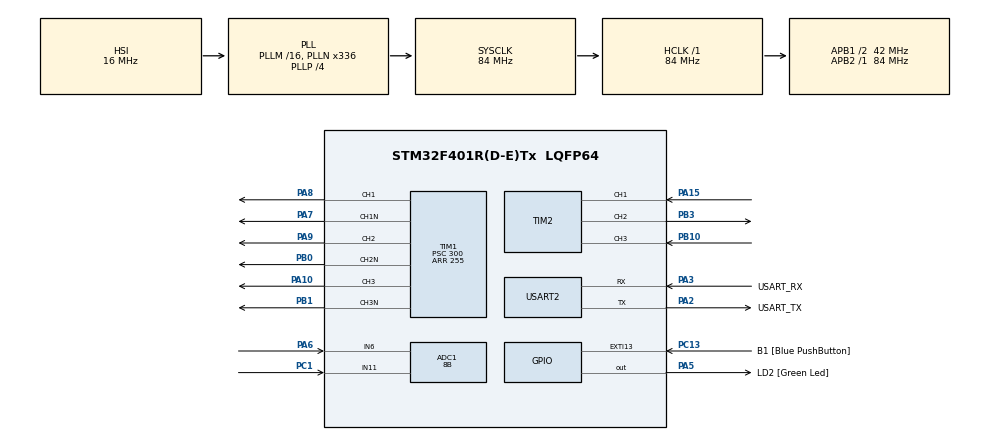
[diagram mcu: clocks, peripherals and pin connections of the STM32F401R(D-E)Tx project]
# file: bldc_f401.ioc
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ADC1.Channel-0\#ChannelRegularConversion=ADC_CHANNEL_6
ADC1.Channel-3\#ChannelRegularConversion=ADC_CHANNEL_11
ADC1.ContinuousConvMode=ENABLE
ADC1.DMAContinuousRequests=ENABLE
ADC1.EOCSelection=ADC_EOC_SEQ_CONV
ADC1.NbrOfConversion=2
ADC1.NbrOfConversionFlag=1
ADC1.Rank-0\#ChannelRegularConversion=1
ADC1.Rank-3\#ChannelRegularConversion=2
ADC1.Resolution=ADC_RESOLUTION_8B
ADC1.SamplingTime-0\#ChannelRegularConversion=ADC_SAMPLETIME_3CYCLES
ADC1.SamplingTime-3\#ChannelRegularConversion=ADC_SAMPLETIME_3CYCLES
ADC1.ScanConvMode=ENABLE
ADC1.master=1
Dma.ADC1.0.Direction=DMA_PERIPH_TO_MEMORY
Dma.ADC1.0.FIFOMode=DMA_FIFOMODE_DISABLE
Dma.ADC1.0.Instance=DMA2_Stream0
Dma.ADC1.0.MemDataAlignment=DMA_MDATAALIGN_WORD
Dma.ADC1.0.MemInc=DMA_MINC_ENABLE
Dma.ADC1.0.Mode=DMA_CIRCULAR
Dma.ADC1.0.PeriphDataAlignment=DMA_PDATAALIGN_WORD
Dma.ADC1.0.PeriphInc=DMA_PINC_DISABLE
Dma.ADC1.0.Priority=DMA_PRIORITY_LOW
Dma.Request0=ADC1
Dma.Request1=USART2_TX
Dma.USART2_TX.1.Direction=DMA_MEMORY_TO_PERIPH
Dma.USART2_TX.1.FIFOMode=DMA_FIFOMODE_DISABLE
Dma.USART2_TX.1.Instance=DMA1_Stream6
Dma.USART2_TX.1.MemDataAlignment=DMA_MDATAALIGN_BYTE
Dma.USART2_TX.1.MemInc=DMA_MINC_ENABLE
Dma.USART2_TX.1.Mode=DMA_NORMAL
Dma.USART2_TX.1.PeriphDataAlignment=DMA_PDATAALIGN_BYTE
Dma.USART2_TX.1.PeriphInc=DMA_PINC_DISABLE
Dma.USART2_TX.1.Priority=DMA_PRIORITY_LOW
Mcu.Family=STM32F4
Mcu.Name=STM32F401R(D-E)Tx
Mcu.Package=LQFP64
NVIC.DMA1_Stream6_IRQn=true\:0\:0\:false\:false\:true\:false\:true
NVIC.DMA2_Stream0_IRQn=true\:0\:0\:false\:false\:true\:false\:true
NVIC.PriorityGroup=NVIC_PRIORITYGROUP_0
NVIC.TIM2_IRQn=true\:0\:0\:false\:false\:true\:true\:true
NVIC.TIM5_IRQn=true\:0\:0\:false\:false\:true\:true\:true
PA10.Signal=S_TIM1_CH3
PA13.GPIO_Label=TMS
PA13.Mode=Serial_Wire
PA13.Signal=SYS_JTMS-SWDIO
PA14.GPIO_Label=TCK
PA14.Mode=Serial_Wire
PA14.Signal=SYS_JTCK-SWCLK
PA15.Signal=S_TIM2_CH1_ETR
PA2.GPIO_Label=USART_TX
PA2.GPIO_Mode=GPIO_MODE_AF_PP
PA2.GPIO_PuPd=GPIO_NOPULL
PA2.GPIO_Speed=GPIO_SPEED_FREQ_LOW
PA2.Mode=Asynchronous
PA2.Signal=USART2_TX
PA3.GPIO_Label=USART_RX
PA3.GPIO_Mode=GPIO_MODE_AF_PP
PA3.GPIO_PuPd=GPIO_NOPULL
PA3.GPIO_Speed=GPIO_SPEED_FREQ_LOW
PA3.Mode=Asynchronous
PA3.Signal=USART2_RX
PA5.GPIO_Label=LD2 [Green Led]
PA5.GPIO_Mode=GPIO_MODE_OUTPUT_PP
PA5.GPIO_PuPd=GPIO_NOPULL
PA5.GPIO_Speed=GPIO_SPEED_FREQ_LOW
PA5.Signal=GPIO_Output
PA6.Signal=ADCx_IN6
PA7.Mode=PWM Generation1 CH1 CH1N
PA7.Signal=TIM1_CH1N
PA8.Signal=S_TIM1_CH1
PA9.Signal=S_TIM1_CH2
PB0.Mode=PWM Generation2 CH2 CH2N
PB0.Signal=TIM1_CH2N
PB1.Mode=PWM Generation3 CH3 CH3N
PB1.Signal=TIM1_CH3N
PB10.Signal=S_TIM2_CH3
PB3.Signal=S_TIM2_CH2
PC1.Signal=ADCx_IN11
PC13-ANTI_TAMP.GPIO_Label=B1 [Blue PushButton]
PC13-ANTI_TAMP.GPIO_ModeDefaultEXTI=GPIO_MODE_IT_FALLING
PC13-ANTI_TAMP.GPIO_PuPd=GPIO_NOPULL
PC13-ANTI_TAMP.Signal=GPXTI13
PC14-OSC32_IN.Mode=LSE-External-Oscillator
PC14-OSC32_IN.Signal=RCC_OSC32_IN
PC15-OSC32_OUT.Mode=LSE-External-Oscillator
PC15-OSC32_OUT.Signal=RCC_OSC32_OUT
PH0\ -\ OSC_IN.Mode=HSE-External-Clock-Source
PH0\ -\ OSC_IN.Signal=RCC_OSC_IN
PH1\ -\ OSC_OUT.Mode=HSE-External-Clock-Source
PH1\ -\ OSC_OUT.Signal=RCC_OSC_OUT
ProjectManager.HeapSize=0x200
ProjectManager.StackSize=0x400
ProjectManager.TargetToolchain=SW4STM32
RCC.48MHZClocksFreq_Value=48000000
RCC.AHBFreq_Value=84000000
RCC.APB1CLKDivider=RCC_HCLK_DIV2
RCC.APB1Freq_Value=42000000
RCC.APB1TimFreq_Value=84000000
RCC.APB2Freq_Value=84000000
RCC.APB2TimFreq_Value=84000000
RCC.CortexFreq_Value=84000000
RCC.HCLKFreq_Value=84000000
RCC.HSE_VALUE=8000000
RCC.HSI_VALUE=16000000
RCC.PLLN=336
RCC.PLLP=RCC_PLLP_DIV4
RCC.PLLQ=7
RCC.SYSCLKFreq_VALUE=84000000
RCC.SYSCLKSource=RCC_SYSCLKSOURCE_PLLCLK
RCC.VCOOutputFreq_Value=336000000
SH.ADCx_IN11.0=ADC1_IN11,IN11
SH.ADCx_IN6.0=ADC1_IN6,IN6
SH.S_TIM1_CH1.0=TIM1_CH1,PWM Generation1 CH1 CH1N
SH.S_TIM1_CH2.0=TIM1_CH2,PWM Generation2 CH2 CH2N
SH.S_TIM1_CH3.0=TIM1_CH3,PWM Generation3 CH3 CH3N
SH.S_TIM2_CH1_ETR.0=TIM2_CH1,TriggerSource_TI1ED
SH.S_TIM2_CH2.0=TIM2_CH2,PWM Generation2 CH2
SH.S_TIM2_CH3.0=TIM2_CH3,Input_Capture3_from_TI3
TIM1.AutoReloadPreload=TIM_AUTORELOAD_PRELOAD_DISABLE
TIM1.AutomaticOutput=TIM_AUTOMATICOUTPUT_DISABLE
TIM1.BreakState=TIM_BREAK_DISABLE
TIM1.Channel-PWM\ Generation1\ CH1\ CH1N=TIM_CHANNEL_1
TIM1.Channel-PWM\ Generation2\ CH2\ CH2N=TIM_CHANNEL_2
TIM1.Channel-PWM\ Generation3\ CH3\ CH3N=TIM_CHANNEL_3
TIM1.OCIdleState_1=TIM_OCIDLESTATE_SET
TIM1.OCIdleState_2=TIM_OCIDLESTATE_SET
TIM1.OCIdleState_3=TIM_OCIDLESTATE_SET
TIM1.OCMode_PWM-PWM\ Generation1\ CH1\ CH1N=TIM_OCMODE_PWM1
TIM1.OCMode_PWM-PWM\ Generation2\ CH2\ CH2N=TIM_OCMODE_PWM1
TIM1.OCMode_PWM-PWM\ Generation3\ CH3\ CH3N=TIM_OCMODE_PWM1
TIM1.OCNIdleState_1=TIM_OCNIDLESTATE_SET
TIM1.OCNIdleState_2=TIM_OCNIDLESTATE_SET
TIM1.OCNIdleState_3=TIM_OCNIDLESTATE_SET
TIM1.OCNPolarity_1=TIM_OCNPOLARITY_LOW
TIM1.OCNPolarity_2=TIM_OCNPOLARITY_LOW
TIM1.OCNPolarity_3=TIM_OCNPOLARITY_LOW
TIM1.OCPolarity_1=TIM_OCPOLARITY_HIGH
TIM1.OCPolarity_2=TIM_OCPOLARITY_HIGH
TIM1.OCPolarity_3=TIM_OCPOLARITY_HIGH
TIM1.OffStateIDLEMode=TIM_OSSI_DISABLE
TIM1.OffStateRunMode=TIM_OSSR_DISABLE
TIM1.Period=255
TIM1.Prescaler=300
TIM1.Pulse-PWM\ Generation2\ CH2\ CH2N=0
TIM1.Pulse-PWM\ Generation3\ CH3\ CH3N=0
TIM2.Channel-Input_Capture1_from_TRC=TIM_CHANNEL_1
TIM2.Channel-Input_Capture3_from_TI3=TIM_CHANNEL_3
TIM2.Channel-PWM\ Generation2\ CH2=TIM_CHANNEL_2
TIM5.AutoReloadPreload=TIM_AUTORELOAD_PRELOAD_ENABLE
TIM5.Channel-Output\ Compare1\ No\ Output=TIM_CHANNEL_1
TIM5.Period=100000
TIM5.Prescaler=84
USART2.VirtualMode=VM_ASYNC
VP_TIM1_VS_ClockSourceINT.Mode=Internal
VP_TIM1_VS_ClockSourceITR.Mode=TriggerSource_ITR1
VP_TIM2_VS_CH1.Mode=Input_Capture1_from_TRC
VP_TIM2_VS_ClockSourceINT.Mode=Internal
VP_TIM2_VS_ControllerModeReset.Mode=Reset Mode
VP_TIM5_VS_ClockSourceINT.Mode=Internal
VP_TIM5_VS_no_output1.Mode=Output Compare1 No Output
board=NUCLEO-F401RE

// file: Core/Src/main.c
/* USER CODE BEGIN Header */
/**
  ******************************************************************************
  * @file           : main.c
  * @brief          : Main program body
  ******************************************************************************
  * @attention
  *
  * <h2><center>&copy; Copyright (c) 2020 STMicroelectronics.
  * All rights reserved.</center></h2>
  *
  * This software component is licensed by ST under BSD 3-Clause license,
  * the "License"; You may not use this file except in compliance with the
  * License. You may obtain a copy of the License at:
  *                        opensource.org/licenses/BSD-3-Clause
  *
  ******************************************************************************
  */
/* USER CODE END Header */
#include "main.h"

/* USER CODE BEGIN Includes */
#include "bldc_function.h"

/* USER CODE END Includes */

ADC_HandleTypeDef hadc1;
DMA_HandleTypeDef hdma_adc1;

TIM_HandleTypeDef htim1;
TIM_HandleTypeDef htim2;
TIM_HandleTypeDef htim5;

UART_HandleTypeDef huart2;
DMA_HandleTypeDef hdma_usart2_tx;

/* USER CODE BEGIN PV */

volatile uint32_t adc_buffer[2];

/* USER CODE END PV */

void SystemClock_Config(void);
static void MX_GPIO_Init(void);
static void MX_DMA_Init(void);
static void MX_TIM2_Init(void);
static void MX_USART2_UART_Init(void);
static void MX_TIM1_Init(void);
static void MX_TIM5_Init(void);
static void MX_ADC1_Init(void);

/* USER CODE BEGIN 0 */
int __io_putchar(int ch)
{
    HAL_UART_Transmit(&huart2, (uint8_t*)&ch, 1, 1000);
    return 0;
}

void HAL_TIM_PeriodElapsedCallback(TIM_HandleTypeDef* htim)
{
    float scale = 1.9;
    uint8_t adc_val_1, adc_val_2;
    // copy the values locally because the adc is running continously and they might change
    adc_val_1 = adc_buffer[0];
    adc_val_2 = adc_buffer[1];

    /*
     * set the pwm duty cycle from the throttle potentiometer
     *
     * note: when using IN6 on PC1 the adc buffer index is 1
     * when using IN4 on PA4 the adc buffer index is 0
     */

    /*
     * scale the value
     */
    if(adc_val_2 >= 63 && adc_val_2 <= 195)
    {
        adc_val_2 -= 63;
	adc_val_2 *= scale;
    }
    else
    {
        adc_val_2 = 0;
        printf("bang %u \r\n", adc_val_2);
    }

    __HAL_TIM_SET_COMPARE(&htim1, TIM_CHANNEL_1, adc_val_2);
    __HAL_TIM_SET_COMPARE(&htim1, TIM_CHANNEL_2, adc_val_2);
    __HAL_TIM_SET_COMPARE(&htim1, TIM_CHANNEL_3, adc_val_2);
    //printf("%u \r\n", adc_val_1);
    printf("%u %u\r\n", adc_val_1, adc_val_2);
    HAL_GPIO_TogglePin(GPIOA, GPIO_PIN_5);
}
/* USER CODE END 0 */

int main(void)
{

  /* MCU Configuration--------------------------------------------------------*/

  /* Reset of all peripherals, Initializes the Flash interface and the Systick. */
  HAL_Init();

  /* Configure the system clock */
  SystemClock_Config();

  /* Initialize all configured peripherals */
  MX_GPIO_Init();
  MX_DMA_Init();
  MX_TIM2_Init();
  MX_USART2_UART_Init();
  MX_TIM1_Init();
  MX_TIM5_Init();
  MX_ADC1_Init();
  /* USER CODE BEGIN 2 */
  HAL_TIM_OC_Start_IT(&htim2,TIM_CHANNEL_1);
  HAL_TIM_PWM_Start(&htim1,TIM_CHANNEL_1);
  HAL_TIM_Base_Start_IT(&htim5);

  bldc_update(&htim1);
  HAL_ADC_Start_DMA(&hadc1, (uint32_t*)adc_buffer, 2);
  /* USER CODE END 2 */

  /* Infinite loop */
  while (1)
  {

    /* USER CODE BEGIN 3 */
	//HAL_GPIO_TogglePin(GPIOA, GPIO_PIN_5);

	    /* Insert delay 100 ms */
	HAL_Delay(800);
    printf("bang\r\n");
  }
  /* USER CODE END 3 */
}

void SystemClock_Config(void)
{
  RCC_OscInitTypeDef RCC_OscInitStruct = {0};
  RCC_ClkInitTypeDef RCC_ClkInitStruct = {0};

  /** Configure the main internal regulator output voltage
  */
  __HAL_RCC_PWR_CLK_ENABLE();
  __HAL_PWR_VOLTAGESCALING_CONFIG(PWR_REGULATOR_VOLTAGE_SCALE2);
  /** Initializes the RCC Oscillators according to the specified parameters
  * in the RCC_OscInitTypeDef structure.
  */
  RCC_OscInitStruct.OscillatorType = RCC_OSCILLATORTYPE_HSI;
  RCC_OscInitStruct.HSIState = RCC_HSI_ON;
  RCC_OscInitStruct.HSICalibrationValue = RCC_HSICALIBRATION_DEFAULT;
  RCC_OscInitStruct.PLL.PLLState = RCC_PLL_ON;
  RCC_OscInitStruct.PLL.PLLSource = RCC_PLLSOURCE_HSI;
  RCC_OscInitStruct.PLL.PLLM = 16;
  RCC_OscInitStruct.PLL.PLLN = 336;
  RCC_OscInitStruct.PLL.PLLP = RCC_PLLP_DIV4;
  RCC_OscInitStruct.PLL.PLLQ = 7;
  if (HAL_RCC_OscConfig(&RCC_OscInitStruct) != HAL_OK)
  {
    Error_Handler();
  }
  /** Initializes the CPU, AHB and APB buses clocks
  */
  RCC_ClkInitStruct.ClockType = RCC_CLOCKTYPE_HCLK|RCC_CLOCKTYPE_SYSCLK
                              |RCC_CLOCKTYPE_PCLK1|RCC_CLOCKTYPE_PCLK2;
  RCC_ClkInitStruct.SYSCLKSource = RCC_SYSCLKSOURCE_PLLCLK;
  RCC_ClkInitStruct.AHBCLKDivider = RCC_SYSCLK_DIV1;
  RCC_ClkInitStruct.APB1CLKDivider = RCC_HCLK_DIV2;
  RCC_ClkInitStruct.APB2CLKDivider = RCC_HCLK_DIV1;

  if (HAL_RCC_ClockConfig(&RCC_ClkInitStruct, FLASH_LATENCY_2) != HAL_OK)
  {
    Error_Handler();
  }
}

static void MX_ADC1_Init(void)
{

  ADC_ChannelConfTypeDef sConfig = {0};

  /** Configure the global features of the ADC (Clock, Resolution, Data Alignment and number of conversion)
  */
  hadc1.Instance = ADC1;
  hadc1.Init.ClockPrescaler = ADC_CLOCK_SYNC_PCLK_DIV4;
  hadc1.Init.Resolution = ADC_RESOLUTION_8B;
  hadc1.Init.ScanConvMode = ENABLE;
  hadc1.Init.ContinuousConvMode = ENABLE;
  hadc1.Init.DiscontinuousConvMode = DISABLE;
  hadc1.Init.ExternalTrigConvEdge = ADC_EXTERNALTRIGCONVEDGE_NONE;
  hadc1.Init.ExternalTrigConv = ADC_SOFTWARE_START;
  hadc1.Init.DataAlign = ADC_DATAALIGN_RIGHT;
  hadc1.Init.NbrOfConversion = 2;
  hadc1.Init.DMAContinuousRequests = ENABLE;
  hadc1.Init.EOCSelection = ADC_EOC_SEQ_CONV;
  if (HAL_ADC_Init(&hadc1) != HAL_OK)
  {
    Error_Handler();
  }
  /** Configure for the selected ADC regular channel its corresponding rank in the sequencer and its sample time.
  */
  sConfig.Channel = ADC_CHANNEL_6;
  sConfig.Rank = 1;
  sConfig.SamplingTime = ADC_SAMPLETIME_3CYCLES;
  if (HAL_ADC_ConfigChannel(&hadc1, &sConfig) != HAL_OK)
  {
    Error_Handler();
  }
  /** Configure for the selected ADC regular channel its corresponding rank in the sequencer and its sample time.
  */
  sConfig.Channel = ADC_CHANNEL_11;
  sConfig.Rank = 2;
  if (HAL_ADC_ConfigChannel(&hadc1, &sConfig) != HAL_OK)
  {
    Error_Handler();
  }

}

static void MX_TIM1_Init(void)
{

  TIM_ClockConfigTypeDef sClockSourceConfig = {0};
  TIM_SlaveConfigTypeDef sSlaveConfig = {0};
  TIM_MasterConfigTypeDef sMasterConfig = {0};
  TIM_OC_InitTypeDef sConfigOC = {0};
  TIM_BreakDeadTimeConfigTypeDef sBreakDeadTimeConfig = {0};

  htim1.Instance = TIM1;
  htim1.Init.Prescaler = 300;
  htim1.Init.CounterMode = TIM_COUNTERMODE_UP;
  htim1.Init.Period = 255;
  htim1.Init.ClockDivision = TIM_CLOCKDIVISION_DIV1;
  htim1.Init.RepetitionCounter = 0;
  htim1.Init.AutoReloadPreload = TIM_AUTORELOAD_PRELOAD_DISABLE;
  if (HAL_TIM_Base_Init(&htim1) != HAL_OK)
  {
    Error_Handler();
  }
  sClockSourceConfig.ClockSource = TIM_CLOCKSOURCE_INTERNAL;
  if (HAL_TIM_ConfigClockSource(&htim1, &sClockSourceConfig) != HAL_OK)
  {
    Error_Handler();
  }
  if (HAL_TIM_PWM_Init(&htim1) != HAL_OK)
  {
    Error_Handler();
  }
  sSlaveConfig.SlaveMode = TIM_SLAVEMODE_DISABLE;
  sSlaveConfig.InputTrigger = TIM_TS_ITR1;
  if (HAL_TIM_SlaveConfigSynchro(&htim1, &sSlaveConfig) != HAL_OK)
  {
    Error_Handler();
  }
  sMasterConfig.MasterOutputTrigger = TIM_TRGO_RESET;
  sMasterConfig.MasterSlaveMode = TIM_MASTERSLAVEMODE_DISABLE;
  if (HAL_TIMEx_MasterConfigSynchronization(&htim1, &sMasterConfig) != HAL_OK)
  {
    Error_Handler();
  }
  sConfigOC.OCMode = TIM_OCMODE_PWM1;
  sConfigOC.Pulse = 0;
  sConfigOC.OCPolarity = TIM_OCPOLARITY_HIGH;
  sConfigOC.OCNPolarity = TIM_OCNPOLARITY_LOW;
  sConfigOC.OCFastMode = TIM_OCFAST_DISABLE;
  sConfigOC.OCIdleState = TIM_OCIDLESTATE_SET;
  sConfigOC.OCNIdleState = TIM_OCNIDLESTATE_SET;
  if (HAL_TIM_PWM_ConfigChannel(&htim1, &sConfigOC, TIM_CHANNEL_1) != HAL_OK)
  {
    Error_Handler();
  }
  if (HAL_TIM_PWM_ConfigChannel(&htim1, &sConfigOC, TIM_CHANNEL_2) != HAL_OK)
  {
    Error_Handler();
  }
  if (HAL_TIM_PWM_ConfigChannel(&htim1, &sConfigOC, TIM_CHANNEL_3) != HAL_OK)
  {
    Error_Handler();
  }
  sBreakDeadTimeConfig.OffStateRunMode = TIM_OSSR_DISABLE;
  sBreakDeadTimeConfig.OffStateIDLEMode = TIM_OSSI_DISABLE;
  sBreakDeadTimeConfig.LockLevel = TIM_LOCKLEVEL_OFF;
  sBreakDeadTimeConfig.DeadTime = 0;
  sBreakDeadTimeConfig.BreakState = TIM_BREAK_DISABLE;
  sBreakDeadTimeConfig.BreakPolarity = TIM_BREAKPOLARITY_HIGH;
  sBreakDeadTimeConfig.AutomaticOutput = TIM_AUTOMATICOUTPUT_DISABLE;
  if (HAL_TIMEx_ConfigBreakDeadTime(&htim1, &sBreakDeadTimeConfig) != HAL_OK)
  {
    Error_Handler();
  }
  /* USER CODE BEGIN TIM1_Init 2 */
  /* set up the pwm outputs to 50% duty cycle for testing */
  __HAL_TIM_SET_COMPARE(&htim1, TIM_CHANNEL_1, 255U);
  __HAL_TIM_SET_COMPARE(&htim1, TIM_CHANNEL_2, 255U);
  __HAL_TIM_SET_COMPARE(&htim1, TIM_CHANNEL_3, 255U);

  /*
   * set the OSSR bit in the BDTR register.
   * when the timer output are disabled
   * they will default to their polarity
   * instead of off
   */
  htim1.Instance->BDTR |= 0b110000000000;

  /* USER CODE END TIM1_Init 2 */
  HAL_TIM_MspPostInit(&htim1);

}

static void MX_TIM2_Init(void)
{

  TIM_ClockConfigTypeDef sClockSourceConfig = {0};
  TIM_SlaveConfigTypeDef sSlaveConfig = {0};
  TIM_MasterConfigTypeDef sMasterConfig = {0};
  TIM_IC_InitTypeDef sConfigIC = {0};
  TIM_OC_InitTypeDef sConfigOC = {0};

  htim2.Instance = TIM2;
  htim2.Init.Prescaler = 0;
  htim2.Init.CounterMode = TIM_COUNTERMODE_UP;
  htim2.Init.Period = 4294967295;
  htim2.Init.ClockDivision = TIM_CLOCKDIVISION_DIV1;
  htim2.Init.AutoReloadPreload = TIM_AUTORELOAD_PRELOAD_DISABLE;
  if (HAL_TIM_Base_Init(&htim2) != HAL_OK)
  {
    Error_Handler();
  }
  sClockSourceConfig.ClockSource = TIM_CLOCKSOURCE_INTERNAL;
  if (HAL_TIM_ConfigClockSource(&htim2, &sClockSourceConfig) != HAL_OK)
  {
    Error_Handler();
  }
  if (HAL_TIM_IC_Init(&htim2) != HAL_OK)
  {
    Error_Handler();
  }
  if (HAL_TIM_PWM_Init(&htim2) != HAL_OK)
  {
    Error_Handler();
  }
  sSlaveConfig.SlaveMode = TIM_SLAVEMODE_RESET;
  sSlaveConfig.InputTrigger = TIM_TS_TI1F_ED;
  sSlaveConfig.TriggerFilter = 0;
  if (HAL_TIM_SlaveConfigSynchro(&htim2, &sSlaveConfig) != HAL_OK)
  {
    Error_Handler();
  }
  sMasterConfig.MasterOutputTrigger = TIM_TRGO_RESET;
  sMasterConfig.MasterSlaveMode = TIM_MASTERSLAVEMODE_DISABLE;
  if (HAL_TIMEx_MasterConfigSynchronization(&htim2, &sMasterConfig) != HAL_OK)
  {
    Error_Handler();
  }
  sConfigIC.ICPolarity = TIM_INPUTCHANNELPOLARITY_RISING;
  sConfigIC.ICSelection = TIM_ICSELECTION_TRC;
  sConfigIC.ICPrescaler = TIM_ICPSC_DIV1;
  sConfigIC.ICFilter = 0;
  if (HAL_TIM_IC_ConfigChannel(&htim2, &sConfigIC, TIM_CHANNEL_1) != HAL_OK)
  {
    Error_Handler();
  }
  sConfigOC.OCMode = TIM_OCMODE_PWM1;
  sConfigOC.Pulse = 0;
  sConfigOC.OCPolarity = TIM_OCPOLARITY_HIGH;
  sConfigOC.OCFastMode = TIM_OCFAST_DISABLE;
  if (HAL_TIM_PWM_ConfigChannel(&htim2, &sConfigOC, TIM_CHANNEL_2) != HAL_OK)
  {
    Error_Handler();
  }
  sConfigIC.ICSelection = TIM_ICSELECTION_DIRECTTI;
  if (HAL_TIM_IC_ConfigChannel(&htim2, &sConfigIC, TIM_CHANNEL_3) != HAL_OK)
  {
    Error_Handler();
  }
  /* USER CODE BEGIN TIM2_Init 2 */
  if (HAL_TIM_ConfigTI1Input(&htim2, TIM_TI1SELECTION_XORCOMBINATION) != HAL_OK)
  {
    Error_Handler();
  }

  /* USER CODE END TIM2_Init 2 */
  HAL_TIM_MspPostInit(&htim2);

}

static void MX_TIM5_Init(void)
{

  TIM_ClockConfigTypeDef sClockSourceConfig = {0};
  TIM_MasterConfigTypeDef sMasterConfig = {0};
  TIM_OC_InitTypeDef sConfigOC = {0};

  htim5.Instance = TIM5;
  htim5.Init.Prescaler = 84;
  htim5.Init.CounterMode = TIM_COUNTERMODE_UP;
  htim5.Init.Period = 100000;
  htim5.Init.ClockDivision = TIM_CLOCKDIVISION_DIV1;
  htim5.Init.AutoReloadPreload = TIM_AUTORELOAD_PRELOAD_ENABLE;
  if (HAL_TIM_Base_Init(&htim5) != HAL_OK)
  {
    Error_Handler();
  }
  sClockSourceConfig.ClockSource = TIM_CLOCKSOURCE_INTERNAL;
  if (HAL_TIM_ConfigClockSource(&htim5, &sClockSourceConfig) != HAL_OK)
  {
    Error_Handler();
  }
  if (HAL_TIM_OC_Init(&htim5) != HAL_OK)
  {
    Error_Handler();
  }
  sMasterConfig.MasterOutputTrigger = TIM_TRGO_RESET;
  sMasterConfig.MasterSlaveMode = TIM_MASTERSLAVEMODE_DISABLE;
  if (HAL_TIMEx_MasterConfigSynchronization(&htim5, &sMasterConfig) != HAL_OK)
  {
    Error_Handler();
  }
  sConfigOC.OCMode = TIM_OCMODE_TIMING;
  sConfigOC.Pulse = 0;
  sConfigOC.OCPolarity = TIM_OCPOLARITY_HIGH;
  sConfigOC.OCFastMode = TIM_OCFAST_DISABLE;
  if (HAL_TIM_OC_ConfigChannel(&htim5, &sConfigOC, TIM_CHANNEL_1) != HAL_OK)
  {
    Error_Handler();
  }

}

static void MX_USART2_UART_Init(void)
{

  huart2.Instance = USART2;
  huart2.Init.BaudRate = 115200;
  huart2.Init.WordLength = UART_WORDLENGTH_8B;
  huart2.Init.StopBits = UART_STOPBITS_1;
  huart2.Init.Parity = UART_PARITY_NONE;
  huart2.Init.Mode = UART_MODE_TX_RX;
  huart2.Init.HwFlowCtl = UART_HWCONTROL_NONE;
  huart2.Init.OverSampling = UART_OVERSAMPLING_16;
  if (HAL_UART_Init(&huart2) != HAL_OK)
  {
    Error_Handler();
  }

}

static void MX_DMA_Init(void)
{

  /* DMA controller clock enable */
  __HAL_RCC_DMA2_CLK_ENABLE();
  __HAL_RCC_DMA1_CLK_ENABLE();

  /* DMA interrupt init */
  /* DMA1_Stream6_IRQn interrupt configuration */
  HAL_NVIC_SetPriority(DMA1_Stream6_IRQn, 0, 0);
  HAL_NVIC_EnableIRQ(DMA1_Stream6_IRQn);
  /* DMA2_Stream0_IRQn interrupt configuration */
  HAL_NVIC_SetPriority(DMA2_Stream0_IRQn, 0, 0);
  HAL_NVIC_EnableIRQ(DMA2_Stream0_IRQn);

}

static void MX_GPIO_Init(void)
{
  GPIO_InitTypeDef GPIO_InitStruct = {0};

  /* GPIO Ports Clock Enable */
  __HAL_RCC_GPIOC_CLK_ENABLE();
  __HAL_RCC_GPIOH_CLK_ENABLE();
  __HAL_RCC_GPIOA_CLK_ENABLE();
  __HAL_RCC_GPIOB_CLK_ENABLE();

  /*Configure GPIO pin Output Level */
  HAL_GPIO_WritePin(LD2_GPIO_Port, LD2_Pin, GPIO_PIN_RESET);

  /*Configure GPIO pin : B1_Pin */
  GPIO_InitStruct.Pin = B1_Pin;
  GPIO_InitStruct.Mode = GPIO_MODE_IT_FALLING;
  GPIO_InitStruct.Pull = GPIO_NOPULL;
  HAL_GPIO_Init(B1_GPIO_Port, &GPIO_InitStruct);

  /*Configure GPIO pin : LD2_Pin */
  GPIO_InitStruct.Pin = LD2_Pin;
  GPIO_InitStruct.Mode = GPIO_MODE_OUTPUT_PP;
  GPIO_InitStruct.Pull = GPIO_NOPULL;
  GPIO_InitStruct.Speed = GPIO_SPEED_FREQ_LOW;
  HAL_GPIO_Init(LD2_GPIO_Port, &GPIO_InitStruct);

}

void Error_Handler(void)
{
}

/************************ (C) COPYRIGHT STMicroelectronics *****END OF FILE****/
